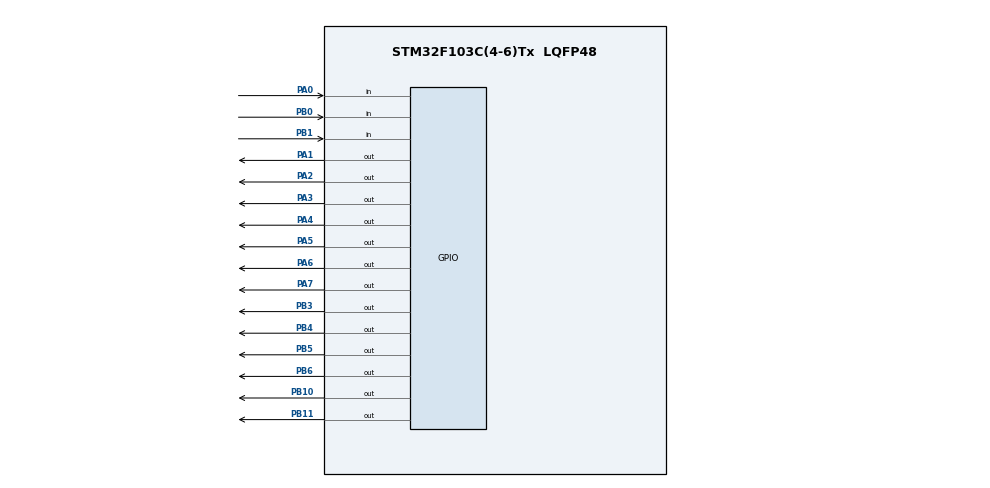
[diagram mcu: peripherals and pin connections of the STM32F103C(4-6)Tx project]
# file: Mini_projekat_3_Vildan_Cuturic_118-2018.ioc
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Mcu.Family=STM32F1
Mcu.Name=STM32F103C(4-6)Tx
Mcu.Package=LQFP48
NVIC.PriorityGroup=NVIC_PRIORITYGROUP_4
PA0-WKUP.Signal=GPIO_Input
PA1.Signal=GPIO_Output
PA2.Signal=GPIO_Output
PA3.Signal=GPIO_Output
PA4.Signal=GPIO_Output
PA5.Signal=GPIO_Output
PA6.Signal=GPIO_Output
PA7.Signal=GPIO_Output
PB0.Signal=GPIO_Input
PB1.Signal=GPIO_Input
PB10.Signal=GPIO_Output
PB11.Signal=GPIO_Output
PB3.Signal=GPIO_Output
PB4.Signal=GPIO_Output
PB5.Signal=GPIO_Output
PB6.Signal=GPIO_Output
ProjectManager.HeapSize=0x200
ProjectManager.StackSize=0x400
ProjectManager.TargetToolchain=STM32CubeIDE
RCC.APB1Freq_Value=8000000
RCC.APB2Freq_Value=8000000
board=custom

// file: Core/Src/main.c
/* USER CODE BEGIN Header */
/**
  ******************************************************************************
  * @file           : main.c
  * @brief          : Main program body
  ******************************************************************************
  * @attention
  *
  * Copyright (c) 2022 STMicroelectronics.
  * All rights reserved.
  *
  * This software is licensed under terms that can be found in the LICENSE file
  * in the root directory of this software component.
  * If no LICENSE file comes with this software, it is provided AS-IS.
  *
  ******************************************************************************
  */
/* USER CODE END Header */
#include "main.h"

/* USER CODE BEGIN Includes */
#include <string.h>

#define Output0 GPIO_PIN_0
#define Output1 GPIO_PIN_1
#define Output2 GPIO_PIN_2
#define Output3 GPIO_PIN_3
#define Output4 GPIO_PIN_4
#define Output5 GPIO_PIN_5
#define Output6 GPIO_PIN_6

#define R1_PORT GPIOB
#define R1_PIN GPIO_PIN_3

#define R2_PORT GPIOB
#define R2_PIN GPIO_PIN_4

#define R3_PORT GPIOB
#define R3_PIN GPIO_PIN_5

#define R4_PORT GPIOB
#define R4_PIN GPIO_PIN_6

#define C1_PORT GPIOA
#define C1_PIN GPIO_PIN_0

#define C2_PORT GPIOB
#define C2_PIN GPIO_PIN_0

#define C3_PORT GPIOB
#define C3_PIN GPIO_PIN_12

#define VALID_CODE_PORT GPIOB
#define VALID_CODE_PIN GPIO_PIN_10

#define INVALID_CODE_PORT GPIOB
#define INVALID_CODE_PIN GPIO_PIN_11

// PA0 - last bit set to 0, USED for input
int values[] = {0b11011110, 0b11111110, 0b00001110, 0b11111010, 0b11011010, 0b11001100, 0b10011110, 0b10110110, 0b00001100, 0b01111110};

char inputCode[3];
char validCode[3] = "118";
int codeDifference = 1;
int numbersEntered = 0; // Used not to turn on red diode if user did not enter 3 numbers
/* USER CODE END Includes */

void SystemClock_Config(void);
static void MX_GPIO_Init(void);

/* USER CODE BEGIN 0 */
void read_keypad (void) {
 // SET ROW 1 TO HIGH ALL OTHERS TO LOW
  HAL_GPIO_WritePin(R1_PORT, R1_PIN, GPIO_PIN_SET);
  HAL_GPIO_WritePin(R2_PORT, R2_PIN, GPIO_PIN_RESET);
  HAL_GPIO_WritePin(R3_PORT, R3_PIN, GPIO_PIN_RESET);
  HAL_GPIO_WritePin(R4_PORT, R4_PIN, GPIO_PIN_RESET);

  if(HAL_GPIO_ReadPin(C1_PORT, C1_PIN)) {
	  // 1
	  GPIOA -> ODR = ~values[8];
	  while(HAL_GPIO_ReadPin(C1_PORT, C1_PIN));
	  numbersEntered++;
	  strcat(inputCode, "1");
  }

  if(HAL_GPIO_ReadPin(C2_PORT, C2_PIN)) {
	  // 2
	  GPIOA -> ODR = ~values[7];
	  while(HAL_GPIO_ReadPin(C2_PORT, C2_PIN));
	  numbersEntered++;
	  strcat(inputCode, "2");
  }

  if(HAL_GPIO_ReadPin(C3_PORT, C3_PIN)) {
	  // 3
	  GPIOA -> ODR = ~values[6];
	  while(HAL_GPIO_ReadPin(C3_PORT, C3_PIN));
	  numbersEntered++;
	  strcat(inputCode, "3");
  }

  // SET ROW 2 TO HIGH ALL OTHERS TO LOW
	HAL_GPIO_WritePin(R1_PORT, R1_PIN, GPIO_PIN_RESET);
	HAL_GPIO_WritePin(R2_PORT, R2_PIN, GPIO_PIN_SET);
	HAL_GPIO_WritePin(R3_PORT, R3_PIN, GPIO_PIN_RESET);
	HAL_GPIO_WritePin(R4_PORT, R4_PIN, GPIO_PIN_RESET);

	if(HAL_GPIO_ReadPin(C1_PORT, C1_PIN)) {
	  // 4
	  GPIOA -> ODR = ~values[5];
	  while(HAL_GPIO_ReadPin(C1_PORT, C1_PIN));
	  numbersEntered++;
	  strcat(inputCode, "4");
	}

	if(HAL_GPIO_ReadPin(C2_PORT, C2_PIN)) {
	  // 5
	  GPIOA -> ODR = ~values[4];
	  while(HAL_GPIO_ReadPin(C2_PORT, C2_PIN));
	  numbersEntered++;
	  strcat(inputCode, "5");
	}

	if(HAL_GPIO_ReadPin(C3_PORT, C3_PIN)) {
	  // 6
	  GPIOA -> ODR = ~values[3];
	  while(HAL_GPIO_ReadPin(C3_PORT, C3_PIN));
	  numbersEntered++;
	  strcat(inputCode, "6");
	}

	// SET ROW 3 TO HIGH ALL OTHERS TO LOW
	HAL_GPIO_WritePin(R1_PORT, R1_PIN, GPIO_PIN_RESET);
	HAL_GPIO_WritePin(R2_PORT, R2_PIN, GPIO_PIN_RESET);
	HAL_GPIO_WritePin(R3_PORT, R3_PIN, GPIO_PIN_SET);
	HAL_GPIO_WritePin(R4_PORT, R4_PIN, GPIO_PIN_RESET);

	if(HAL_GPIO_ReadPin(C1_PORT, C1_PIN)) {
	  // 7
	  GPIOA -> ODR = ~values[2];
	  while(HAL_GPIO_ReadPin(C1_PORT, C1_PIN));
	  numbersEntered++;
	  strcat(inputCode, "7");
	}

	if(HAL_GPIO_ReadPin(C2_PORT, C2_PIN)) {
	  // 8
	  GPIOA -> ODR = ~values[1];
	  while(HAL_GPIO_ReadPin(C2_PORT, C2_PIN));
	  numbersEntered++;
	  strcat(inputCode, "8");
	}

	if(HAL_GPIO_ReadPin(C3_PORT, C3_PIN)) {
	  // 9
	  GPIOA -> ODR = ~values[0];
	  while(HAL_GPIO_ReadPin(C3_PORT, C3_PIN));
	  numbersEntered++;
	  strcat(inputCode, "9");
	}

	// SET ROW 3 TO HIGH ALL OTHERS TO LOW
	HAL_GPIO_WritePin(R1_PORT, R1_PIN, GPIO_PIN_RESET);
	HAL_GPIO_WritePin(R2_PORT, R2_PIN, GPIO_PIN_RESET);
	HAL_GPIO_WritePin(R3_PORT, R3_PIN, GPIO_PIN_RESET);
	HAL_GPIO_WritePin(R4_PORT, R4_PIN, GPIO_PIN_SET);

	// *

	if(HAL_GPIO_ReadPin(C2_PORT, C2_PIN)) {
	  // 0
	  GPIOA -> ODR = ~values[9];
	  while(HAL_GPIO_ReadPin(C2_PORT, C2_PIN));
	  numbersEntered++;
	  strcat(inputCode, "0");
	}

	if(HAL_GPIO_ReadPin(C3_PORT, C3_PIN)) {
	  // 0
	  GPIOA -> ODR = ~values[6];
	  while(HAL_GPIO_ReadPin(C3_PORT, C3_PIN));
	  numbersEntered++;
	  strcat(inputCode, "0");
	}
	// #
}
void checkCode() {
	if(numbersEntered == 3){
		codeDifference = strcmp(validCode, inputCode);
		if(codeDifference == 0) {
			HAL_GPIO_WritePin(VALID_CODE_PORT, VALID_CODE_PIN, GPIO_PIN_RESET);
		}
		else {
			HAL_GPIO_WritePin(INVALID_CODE_PORT, INVALID_CODE_PIN, GPIO_PIN_RESET);
		}
		// reset code input
		numbersEntered = 0;
		strcpy(inputCode, "");
		HAL_Delay(2000); // WAIT 2 seconds then turn off diodes
		HAL_GPIO_WritePin(VALID_CODE_PORT, VALID_CODE_PIN, GPIO_PIN_SET);
		HAL_GPIO_WritePin(INVALID_CODE_PORT, INVALID_CODE_PIN, GPIO_PIN_SET);
	}
}
/* USER CODE END 0 */

int main(void)
{

  /* MCU Configuration--------------------------------------------------------*/

  /* Reset of all peripherals, Initializes the Flash interface and the Systick. */
  HAL_Init();

  /* Configure the system clock */
  SystemClock_Config();

  /* Initialize all configured peripherals */
  MX_GPIO_Init();

  /* Infinite loop */
  while (1)
  {

    /* USER CODE BEGIN 3 */
	  read_keypad();
	  checkCode();
	  HAL_Delay(100);
  }
  /* USER CODE END 3 */
}

void SystemClock_Config(void)
{
  RCC_OscInitTypeDef RCC_OscInitStruct = {0};
  RCC_ClkInitTypeDef RCC_ClkInitStruct = {0};

  /** Initializes the RCC Oscillators according to the specified parameters
  * in the RCC_OscInitTypeDef structure.
  */
  RCC_OscInitStruct.OscillatorType = RCC_OSCILLATORTYPE_HSI;
  RCC_OscInitStruct.HSIState = RCC_HSI_ON;
  RCC_OscInitStruct.HSICalibrationValue = RCC_HSICALIBRATION_DEFAULT;
  RCC_OscInitStruct.PLL.PLLState = RCC_PLL_NONE;
  if (HAL_RCC_OscConfig(&RCC_OscInitStruct) != HAL_OK)
  {
    Error_Handler();
  }

  /** Initializes the CPU, AHB and APB buses clocks
  */
  RCC_ClkInitStruct.ClockType = RCC_CLOCKTYPE_HCLK|RCC_CLOCKTYPE_SYSCLK
                              |RCC_CLOCKTYPE_PCLK1|RCC_CLOCKTYPE_PCLK2;
  RCC_ClkInitStruct.SYSCLKSource = RCC_SYSCLKSOURCE_HSI;
  RCC_ClkInitStruct.AHBCLKDivider = RCC_SYSCLK_DIV1;
  RCC_ClkInitStruct.APB1CLKDivider = RCC_HCLK_DIV1;
  RCC_ClkInitStruct.APB2CLKDivider = RCC_HCLK_DIV1;

  if (HAL_RCC_ClockConfig(&RCC_ClkInitStruct, FLASH_LATENCY_0) != HAL_OK)
  {
    Error_Handler();
  }
}

static void MX_GPIO_Init(void)
{
  GPIO_InitTypeDef GPIO_InitStruct = {0};

  /* GPIO Ports Clock Enable */
  __HAL_RCC_GPIOA_CLK_ENABLE();
  __HAL_RCC_GPIOB_CLK_ENABLE();

  /*Configure GPIO pin Output Level */
  HAL_GPIO_WritePin(GPIOA, GPIO_PIN_1|GPIO_PIN_2|GPIO_PIN_3|GPIO_PIN_4
                          |GPIO_PIN_5|GPIO_PIN_6|GPIO_PIN_7, GPIO_PIN_SET);

  /*Configure GPIO pin Output Level */
  HAL_GPIO_WritePin(GPIOB, GPIO_PIN_10|GPIO_PIN_11|GPIO_PIN_3|GPIO_PIN_4
                          |GPIO_PIN_5|GPIO_PIN_6, GPIO_PIN_SET);

  /*Configure GPIO pin : PA0 */
  GPIO_InitStruct.Pin = GPIO_PIN_0;
  GPIO_InitStruct.Mode = GPIO_MODE_INPUT;
  GPIO_InitStruct.Pull = GPIO_NOPULL;
  HAL_GPIO_Init(GPIOA, &GPIO_InitStruct);

  /*Configure GPIO pins : PA1 PA2 PA3 PA4
                           PA5 PA6 PA7 */
  GPIO_InitStruct.Pin = GPIO_PIN_1|GPIO_PIN_2|GPIO_PIN_3|GPIO_PIN_4
                          |GPIO_PIN_5|GPIO_PIN_6|GPIO_PIN_7;
  GPIO_InitStruct.Mode = GPIO_MODE_OUTPUT_PP;
  GPIO_InitStruct.Pull = GPIO_NOPULL;
  GPIO_InitStruct.Speed = GPIO_SPEED_FREQ_LOW;
  HAL_GPIO_Init(GPIOA, &GPIO_InitStruct);

  /*Configure GPIO pins : PB0 PB1 */
  GPIO_InitStruct.Pin = GPIO_PIN_0|GPIO_PIN_1;
  GPIO_InitStruct.Mode = GPIO_MODE_INPUT;
  GPIO_InitStruct.Pull = GPIO_NOPULL;
  HAL_GPIO_Init(GPIOB, &GPIO_InitStruct);

  /*Configure GPIO pins : PB10 PB11 PB3 PB4
                           PB5 PB6 */
  GPIO_InitStruct.Pin = GPIO_PIN_10|GPIO_PIN_11|GPIO_PIN_3|GPIO_PIN_4
                          |GPIO_PIN_5|GPIO_PIN_6;
  GPIO_InitStruct.Mode = GPIO_MODE_OUTPUT_PP;
  GPIO_InitStruct.Pull = GPIO_NOPULL;
  GPIO_InitStruct.Speed = GPIO_SPEED_FREQ_LOW;
  HAL_GPIO_Init(GPIOB, &GPIO_InitStruct);

}

void Error_Handler(void)
{
  __disable_irq();
  while (1)
  {
  }
}
